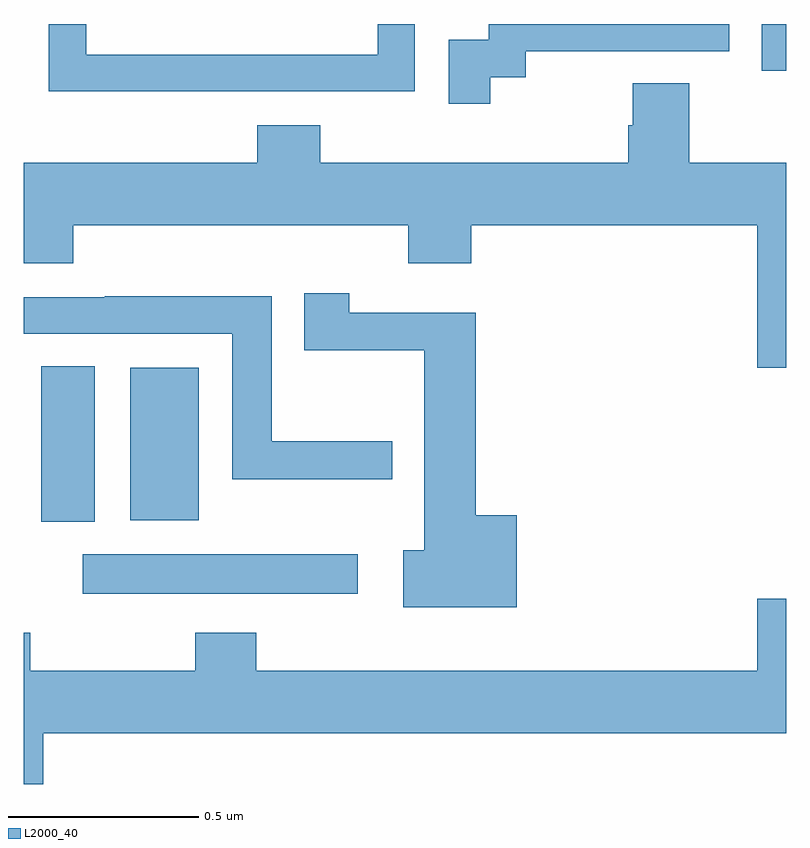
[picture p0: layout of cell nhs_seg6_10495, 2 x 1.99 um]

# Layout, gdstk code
import gdstk
lib = gdstk.Library(unit=1e-6, precision=1e-09)
def R(c, l, rs):  # rectangles x0, y0, x1, y1
    for r in rs: c.add(gdstk.rectangle(r[:2], r[2:], *l))
def P(c, l, *ps):  # polygons
    for p in ps: c.add(gdstk.Polygon(p, *l))
L2000_40 = (2000, 40)

nhs_seg6_10495 = lib.new_cell('nhs_seg6_10495')
R(nhs_seg6_10495, L2000_40, [(247.155,977.006,247.876,977.11), (247.046,977.195,247.186,977.603), (247.28,977.198,247.459,977.599), (248.935,978.378,249,978.5)])
P(nhs_seg6_10495, L2000_40, [(248.224,978.361),(248.316,978.361),(248.316,978.429),(248.85,978.429),(248.85,978.5),(248.22,978.5),(248.22,978.459),(248.115,978.459),(248.115,978.291),(248.224,978.291)],
  [(247.529,978.324),(248.025,978.324),(248.025,978.5),(247.929,978.5),(247.929,978.42),(247.164,978.42),(247.164,978.5),(247.066,978.5),(247.066,978.323),(247.529,978.323)],
  [(249,978.136),(248.745,978.136),(248.745,978.344),(248.597,978.344),(248.597,978.234),(248.585,978.234),(248.585,978.136),(247.778,978.136),(247.778,978.235),(247.613,978.235),(247.613,978.136),(247,978.136),(247,977.873),(247.13,977.873),(247.13,977.972),(248.009,977.972),(248.009,977.873),(248.174,977.873),(248.174,977.972),(248.924,977.972),(248.924,977.598),(249,977.598)],
  [(248.293,977.212),(248.186,977.212),(248.186,977.743),(247.854,977.743),(247.854,977.794),(247.736,977.794),(247.736,977.644),(248.051,977.644),(248.051,977.12),(247.995,977.12),(247.995,976.97),(248.293,976.97)],
  [(247.966,977.406),(247.651,977.406),(247.651,977.786),(247.213,977.786),(247.213,977.784),(247,977.784),(247,977.688),(247.547,977.688),(247.547,977.306),(247.966,977.306)],
  [(247.052,976.64),(249,976.64),(249,976.993),(248.924,976.993),(248.924,976.804),(247.61,976.804),(247.61,976.903),(247.45,976.903),(247.45,976.804),(247.017,976.804),(247.017,976.903),(247,976.903),(247,976.507),(247.052,976.507)])

lib.write_gds('nhs_seg6_10495.gds')
